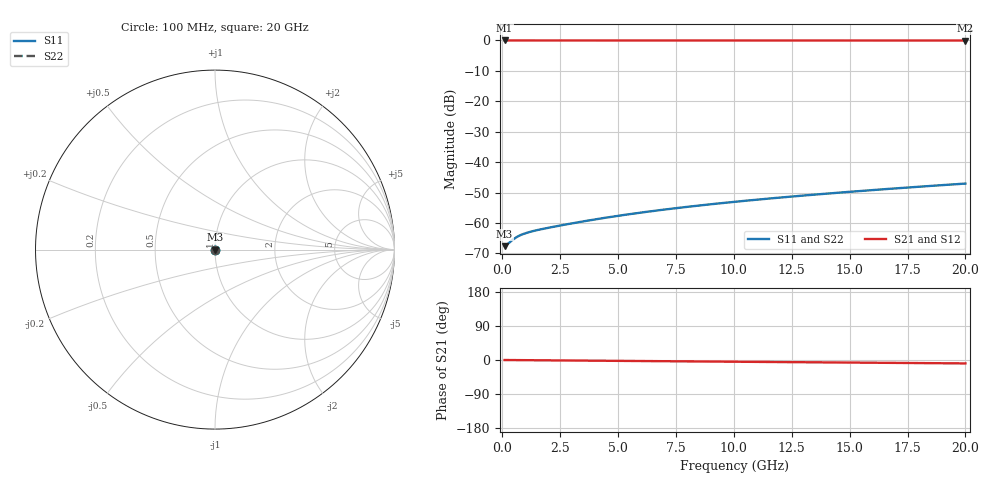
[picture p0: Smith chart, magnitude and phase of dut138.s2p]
! Touchstone file exported from HFSS 2026.1.0
!  File:  C:/ffzhzh/LocalFiles/Ansys_Project_Files/temp_train_TSV_138_1782990291_6248.aedt
!  Generated:  07:06:44 PM Jul  2, 2026
!  Design:  TSV
!  Project:  temp_train_TSV_138_1782990291_6248
! Variables:
!  h_bsmrdl = 2um
!  h_ox = 20um
!  h_rdl = 5um
!  h_sub = 97.94um
!  h_tmrdl = 5um
!  h_tsv = 97.94um
!  h_via = 3um
!  l_bsmrdl = 300um
!  l_sub = 410.96um
!  l_tmrdl = 200um
!  m_sub = 200um
!  pitch = 22.11um
!  r_tsv = 5.48um
!  s_tmrdl = 10um
!  w_bsmrdl = 18um
!  w_sub = 500um
!  w_tmrdl = 12um
!  x_tsv_center1 = 206um
!  x_tsv_center2 = 524um
!  x_tsv_center3 = 736um
!  x_tsv_center4 = 1054um
!  x_tsv_center5 = 1266um
!  x_tsv_center6 = 1584um
# GHz S MA R 50.000000
! Terminal data exported
! Port[1] = TSV1_1_T1
! Port[2] = TSV1_1_T2
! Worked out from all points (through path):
!   200 points, 100 MHz to 20 GHz, reference 50 ohm
!   highest |S21| = 0.00 dB at 100 MHz (marker M1); lowest = 0.0 dB at 20 GHz (marker M2)
!   group delay of S21, straight-line fit = 1.25 ps
!   lowest |S11| = -67.6 dB at 100 MHz (marker M3), VSWR 1.00, Z = 50 + j0.00472 ohm
!   |S11| at or under -10 dB: start of sweep to end of sweep
!   |S22| runs from -67.6 to -47.0 dB; largest |S21 - S12| = 2.3e-15
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0.1  0.0004162 6.5  0.9996 -0.0  0.9996 -0.0  0.0004162 6.5
! Gamma 0 0 0 0
! Port Impedance 50 0 50 0
0.2  0.000441 11.7  0.9996 -0.1  0.9996 -0.1  0.000441 11.7
0.4  0.0005115 16.9  0.9995 -0.2  0.9995 -0.2  0.0005115 16.9
0.5  0.0005472 17.6  0.9995 -0.2  0.9995 -0.2  0.0005472 17.6
0.6  0.0005799 17.6  0.9994 -0.3  0.9994 -0.3  0.0005799 17.6
0.8  0.0006351 16.6  0.9994 -0.4  0.9994 -0.4  0.000635 16.6
0.9  0.0006582 15.9  0.9994 -0.4  0.9994 -0.4  0.0006581 15.9
1.1  0.000698 14.4  0.9993 -0.5  0.9993 -0.5  0.000698 14.4
1.4  0.000748 12.3  0.9993 -0.7  0.9993 -0.7  0.000748 12.3
1.9  0.0008218 9.0  0.9992 -0.9  0.9992 -0.9  0.0008218 9.0
2.7  0.0009392 3.9  0.9991 -1.2  0.9991 -1.2  0.0009392 3.9
3.5  0.001064 -1.4  0.9989 -1.6  0.9989 -1.6  0.001064 -1.4
4.3  0.001194 -6.8  0.9988 -2.0  0.9988 -2.0  0.001194 -6.8
5.1  0.001329 -12.2  0.9987 -2.3  0.9987 -2.3  0.001329 -12.2
5.9  0.001468 -17.4  0.9986 -2.7  0.9986 -2.7  0.001468 -17.4
6.8  0.001627 -22.7  0.9985 -3.1  0.9985 -3.1  0.001627 -22.7
8.4  0.001919 -31.2  0.9983 -3.8  0.9983 -3.8  0.001919 -31.2
10.1  0.002242 -38.6  0.9981 -4.6  0.9981 -4.6  0.002242 -38.6
11.7  0.002559 -44.3  0.998 -5.3  0.998 -5.3  0.002559 -44.4
13.4  0.00291 -49.4  0.9979 -6.1  0.9979 -6.1  0.00291 -49.4
16.7  0.00364 -57.1  0.9976 -7.5  0.9976 -7.5  0.00364 -57.1
20  0.004446 -62.8  0.9974 -9.0  0.9974 -9.0  0.004446 -62.8
